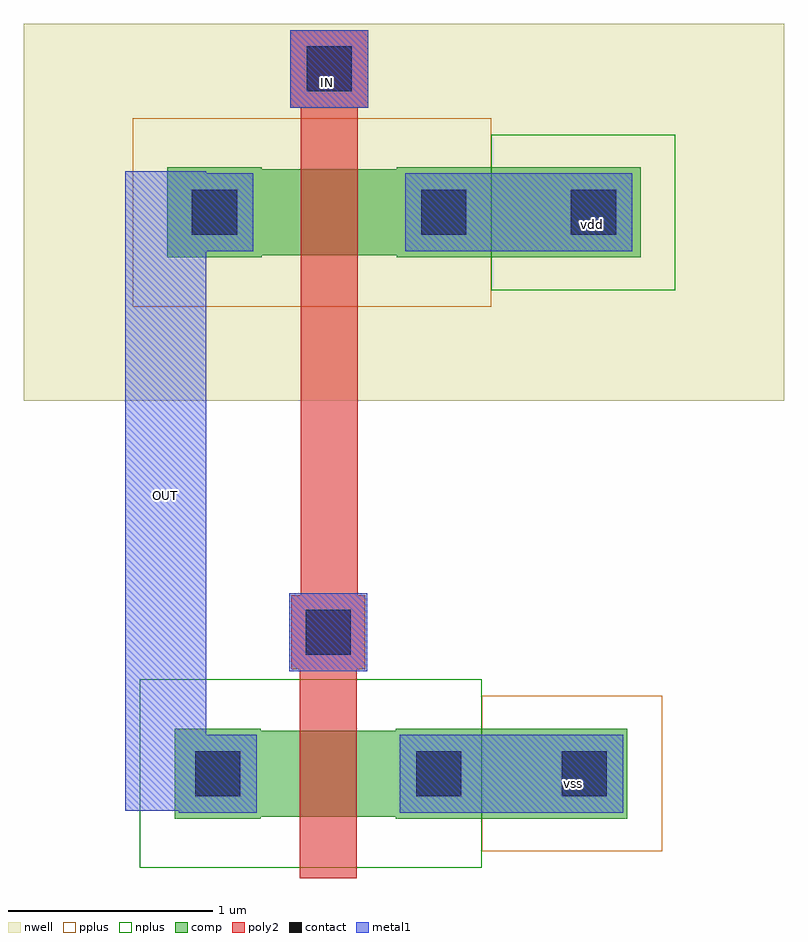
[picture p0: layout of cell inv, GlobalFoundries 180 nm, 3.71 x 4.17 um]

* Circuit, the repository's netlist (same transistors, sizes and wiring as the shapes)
** sch_path: /foss/designs/CAD2/inv.sch
.subckt inv vdd IN OUT vss
*.PININFO IN:I OUT:O vdd:B vss:B
M1 OUT IN vss vss nfet_03v3 L=0.28u W=0.42u nf=1 m=1
M2 OUT IN vdd vdd pfet_03v3 L=0.28u W=0.42u nf=1 m=1
.ends

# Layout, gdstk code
import gdstk
lib = gdstk.Library(unit=1e-6, precision=5e-09)
def R(c, l, rs):  # rectangles x0, y0, x1, y1
    for r in rs: c.add(gdstk.rectangle(r[:2], r[2:], *l))
nwell = (21, 0)
comp = (22, 0)
poly2 = (30, 0)
pplus = (31, 0)
nplus = (32, 0)
contact = (33, 0)
metal1 = (34, 0)

pfet_1 = lib.new_cell('pfet$1')
R(pfet_1, nwell, [(-1.16,-0.71,2.55,1.13)])
R(pfet_1, comp, [(-0.46,-0.01,0,0.43), (0.66,-0.01,1.12,0.43), (1.12,-0.01,1.85,0.43), (0,0,0.66,0.42)])
R(pfet_1, poly2, [(0.19,-0.3,0.47,0.72), (0.14,0.72,0.52,1.1)])
R(pfet_1, pplus, [(-0.63,-0.25,1.12,0.67)])
R(pfet_1, nplus, [(1.12,-0.17,2.02,0.59)])
R(pfet_1, contact, [(-0.34,0.1,-0.12,0.32), (0.78,0.1,1,0.32), (1.51,0.1,1.73,0.32), (0.22,0.8,0.44,1.02)])
R(pfet_1, metal1, [(-0.42,0.02,-0.04,0.4), (0.7,0.02,1.08,0.4), (1.43,0.02,1.81,0.4), (0.14,0.72,0.52,1.1)])

nfet_1 = lib.new_cell('nfet$1')
R(nfet_1, comp, [(-0.42,-0.01,0,0.43), (0.66,-0.01,1.08,0.43), (1.08,-0.01,1.79,0.43), (0,0,0.66,0.42)])
R(nfet_1, poly2, [(0.19,-0.3,0.47,0.72), (0.15,0.72,0.51,1.08)])
R(nfet_1, pplus, [(1.08,-0.17,1.96,0.59)])
R(nfet_1, nplus, [(-0.59,-0.25,1.08,0.67)])
R(nfet_1, contact, [(-0.32,0.1,-0.1,0.32), (0.76,0.1,0.98,0.32), (1.47,0.1,1.69,0.32), (0.22,0.79,0.44,1.01)])
R(nfet_1, metal1, [(-0.4,0.02,-0.02,0.4), (0.68,0.02,1.06,0.4), (1.39,0.02,1.77,0.4), (0.14,0.71,0.52,1.09)])

inv = lib.new_cell('inv')
R(inv, poly2, [(0,1.37,0.28,2.73)])
R(inv, metal1, [(0.865,0.31,1.205,0.69), (-0.855,0.32,-0.46,3.44), (0.89,3.05,1.24,3.43)])
inv.add(gdstk.Reference(pfet_1, (-0.19,3.03)))
inv.add(gdstk.Reference(nfet_1, (-0.195,0.29)))
inv.add(gdstk.Label('IN', (0.13,3.875), layer=34, texttype=10))
inv.add(gdstk.Label('vss', (1.33,0.45), layer=34, texttype=10))
inv.add(gdstk.Label('vdd', (1.425,3.18), layer=34, texttype=10))
inv.add(gdstk.Label('OUT', (-0.66,1.86), layer=34, texttype=10))

lib.write_gds('inv.gds')
